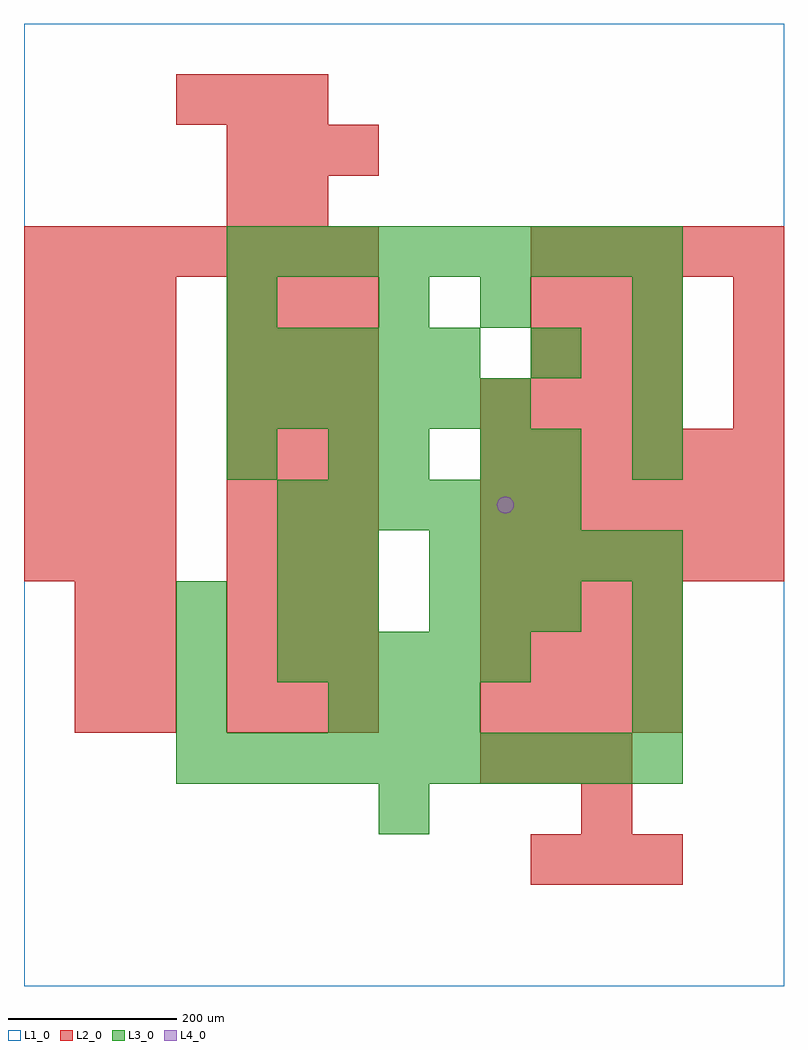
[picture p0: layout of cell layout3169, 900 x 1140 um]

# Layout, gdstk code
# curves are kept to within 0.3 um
import gdstk
lib = gdstk.Library(unit=1e-6, precision=1e-09)
def R(c, l, rs):  # rectangles x0, y0, x1, y1
    for r in rs: c.add(gdstk.rectangle(r[:2], r[2:], *l))
def A(c, l, x, y, w, h, nx, ny, dx, dy):  # array of equal rectangles
    R(c, l, [(x+i*dx, y+j*dy, x+i*dx+w, y+j*dy+h) for i in range(nx) for j in range(ny)])
def P(c, l, *ps):  # polygons
    for p in ps: c.add(gdstk.Polygon(p, *l))
L1_0 = (1, 0)
L2_0 = (2, 0)
L3_0 = (3, 0)
L4_0 = (4, 0)

layout3169 = lib.new_cell('layout3169')
R(layout3169, L1_0, [(0,0,900,1140)])
A(layout3169, L2_0, 600, 120, 60, 60, 3, 2, 60, 600)
A(layout3169, L2_0, 540, 240, 60, 60, 3, 1, 60, 0)
A(layout3169, L2_0, 60, 300, 60, 60, 1, 3, 0, 60)
A(layout3169, L2_0, 120, 300, 60, 60, 1, 3, 0, 60)
A(layout3169, L2_0, 240, 300, 60, 60, 3, 9, 60, 60)
A(layout3169, L2_0, 540, 300, 60, 60, 4, 3, 60, 60)
A(layout3169, L2_0, 0, 480, 60, 60, 3, 6, 60, 60)
A(layout3169, L2_0, 540, 480, 60, 60, 6, 3, 60, 60)
A(layout3169, L2_0, 540, 660, 60, 60, 4, 1, 60, 0)
A(layout3169, L2_0, 840, 660, 60, 60, 1, 3, 0, 60)
A(layout3169, L2_0, 600, 780, 60, 60, 3, 1, 60, 0)
A(layout3169, L2_0, 0, 840, 60, 60, 7, 1, 60, 0)
A(layout3169, L2_0, 600, 840, 60, 60, 5, 1, 60, 0)
A(layout3169, L2_0, 240, 960, 60, 60, 3, 1, 60, 0)
A(layout3169, L2_0, 180, 1020, 60, 60, 3, 1, 60, 0)
R(layout3169, L2_0, [(660,180,720,240), (240,900,300,960), (300,900,360,960)])
A(layout3169, L3_0, 180, 240, 60, 60, 10, 1, 60, 0)
A(layout3169, L3_0, 180, 300, 60, 60, 1, 3, 0, 60)
A(layout3169, L3_0, 360, 300, 60, 60, 3, 1, 60, 0)
A(layout3169, L3_0, 720, 300, 60, 60, 1, 3, 0, 60)
A(layout3169, L3_0, 300, 360, 60, 60, 5, 1, 60, 0)
A(layout3169, L3_0, 480, 420, 60, 60, 3, 1, 60, 0)
A(layout3169, L3_0, 480, 480, 60, 60, 5, 1, 60, 0)
A(layout3169, L3_0, 300, 540, 60, 60, 6, 1, 60, 0)
A(layout3169, L3_0, 720, 600, 60, 60, 1, 4, 0, 60)
A(layout3169, L3_0, 240, 660, 60, 60, 6, 1, 60, 0)
A(layout3169, L3_0, 240, 720, 60, 60, 5, 1, 60, 0)
A(layout3169, L3_0, 240, 840, 60, 60, 9, 1, 60, 0)
R(layout3169, L3_0, [(420,180,480,240), (300,420,360,480), (360,420,420,480), (300,480,360,540), (360,480,420,540), (240,600,300,660), (360,600,420,660), (420,600,480,660), (540,600,600,660), (600,600,660,660), (600,720,660,780), (240,780,300,840), (420,780,480,840), (540,780,600,840)])
P(layout3169, L4_0, [(580,570),(579.239,573.827),(577.071,577.071),(573.827,579.239),(570,580),(566.173,579.239),(562.929,577.071),(560.761,573.827),(560,570),(560.761,566.173),(562.929,562.929),(566.173,560.761),(570,560),(573.827,560.761),(577.071,562.929),(579.239,566.173)])

lib.write_gds('layout3169.gds')
